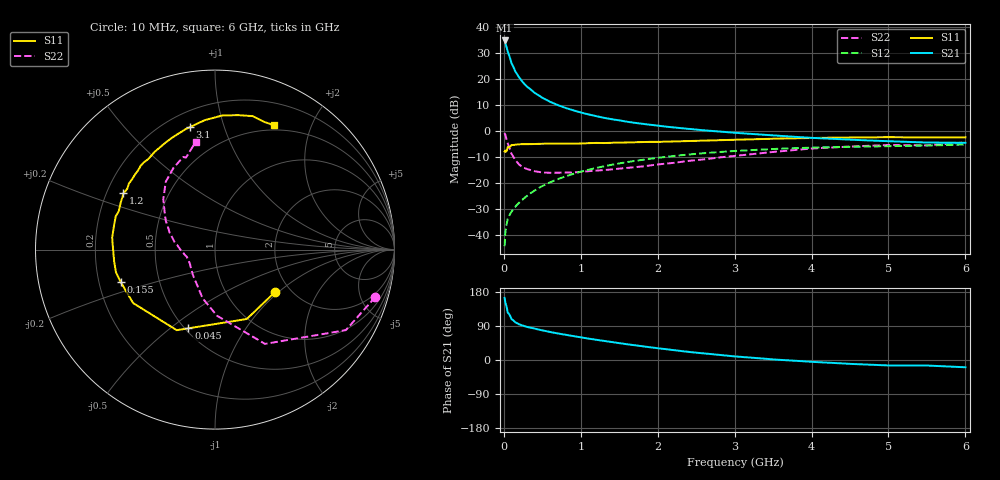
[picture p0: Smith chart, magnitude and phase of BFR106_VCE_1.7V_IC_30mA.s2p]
! Infineon Technologies  Discrete & RF Semiconductors
! BFR106
! VCE =  1.7 V,  IC =  30 mA
! Common Emitter S-Parameters:  Nov 2015
# GHz  S  MA  R  50
!  f  S11  S21  S12  S22
! GHz  MAG  ANG  MAG  ANG  MAG  ANG  MAG  ANG
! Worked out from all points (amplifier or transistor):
!   210 points, 10 MHz to 6 GHz, reference 50 ohm
!   highest |S21| = 34.9 dB at 10 MHz (marker M1)
!   |S21| within 3 dB of that: start of sweep to 38.7 MHz
!   unconditionally stable (mu >= 1): 284.9 MHz to 2.763 GHz; 5.015 GHz to end of sweep
!   at 185 MHz: K = 0.87, MSG = 24.6 dB, |S12| = -27.9 dB
!   at 1.52 GHz: K = 1.06, MAG = 6.7 dB, |S12| = -12.2 dB
!   at 6 GHz: K = 1.01, MAG = -0.4 dB, |S12| = -5.1 dB
!   S11 on the Smith chart (normalised r, x): 10 MHz: 1.66, -0.95; 45 MHz: 0.52, -0.58; 155 MHz: 0.29, -0.15; 1.2 GHz: 0.27, +0.26; 3.1 GHz: 0.29, +0.77; 6 GHz: 0.44, +1.49
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0.01  0.409 -35.6  55.78 164.0  0.0062 81.6  0.9313 -16.5
0.02  0.4253 -65.4  50.58 151.1  0.0114 69.8  0.8562 -31.6
0.045  0.4629 -108.7  36.44 131.3  0.0193 57.5  0.6226 -55.4
0.05  0.497 -115.4  34.38 125.6  0.0209 56.2  0.5945 -62.1
0.1  0.5446 -146.8  20.33 107.8  0.0286 54.2  0.3684 -88.3
0.15  0.5546 -160.2  14.05 99.1  0.0357 56.8  0.2794 -104.4
0.155  0.5554 -160.9  13.72 98.7  0.0364 57.2  0.2741 -105.2
0.2  0.5663 -167.2  10.77 94.0  0.0426 60.0  0.2294 -114.3
0.26  0.5657 -173.1  8.35 89.6  0.0513 62.9  0.1991 -125.2
0.3  0.5653 -176.2  7.24 87.3  0.0572 64.5  0.1889 -130.4
0.4  0.5711 177.4  5.489 82.5  0.0729 66.4  0.1708 -141.2
0.5  0.5769 173.2  4.412 78.1  0.0887 67.1  0.1618 -148.5
0.6  0.5775 168.8  3.698 73.9  0.1044 67.0  0.1595 -153.3
0.8  0.5836 161.4  2.819 66.5  0.136 65.5  0.1615 -162.1
1.02  0.5865 153.8  2.261 59.2  0.1705 63.1  0.1668 -168.0
1.2  0.5987 148.4  1.956 53.4  0.1976 60.8  0.1752 -172.9
1.6  0.6112 137.0  1.529 41.5  0.2562 54.6  0.1982 178.1
2.02  0.6276 126.0  1.272 30.6  0.312 47.8  0.2324 168.5
3.1  0.6963 101.7  0.916 8.0  0.4266 30.0  0.3479 143.7
4.1  0.7502 85.4  0.737 -5.8  0.4911 15.0  0.4745 124.1
5.1  0.77 73.2  0.637 -14.4  0.522 3.0  0.544 108.7
6  0.7668 64.7  0.601 -19.2  0.5577 -6.0  0.6112 100.1
